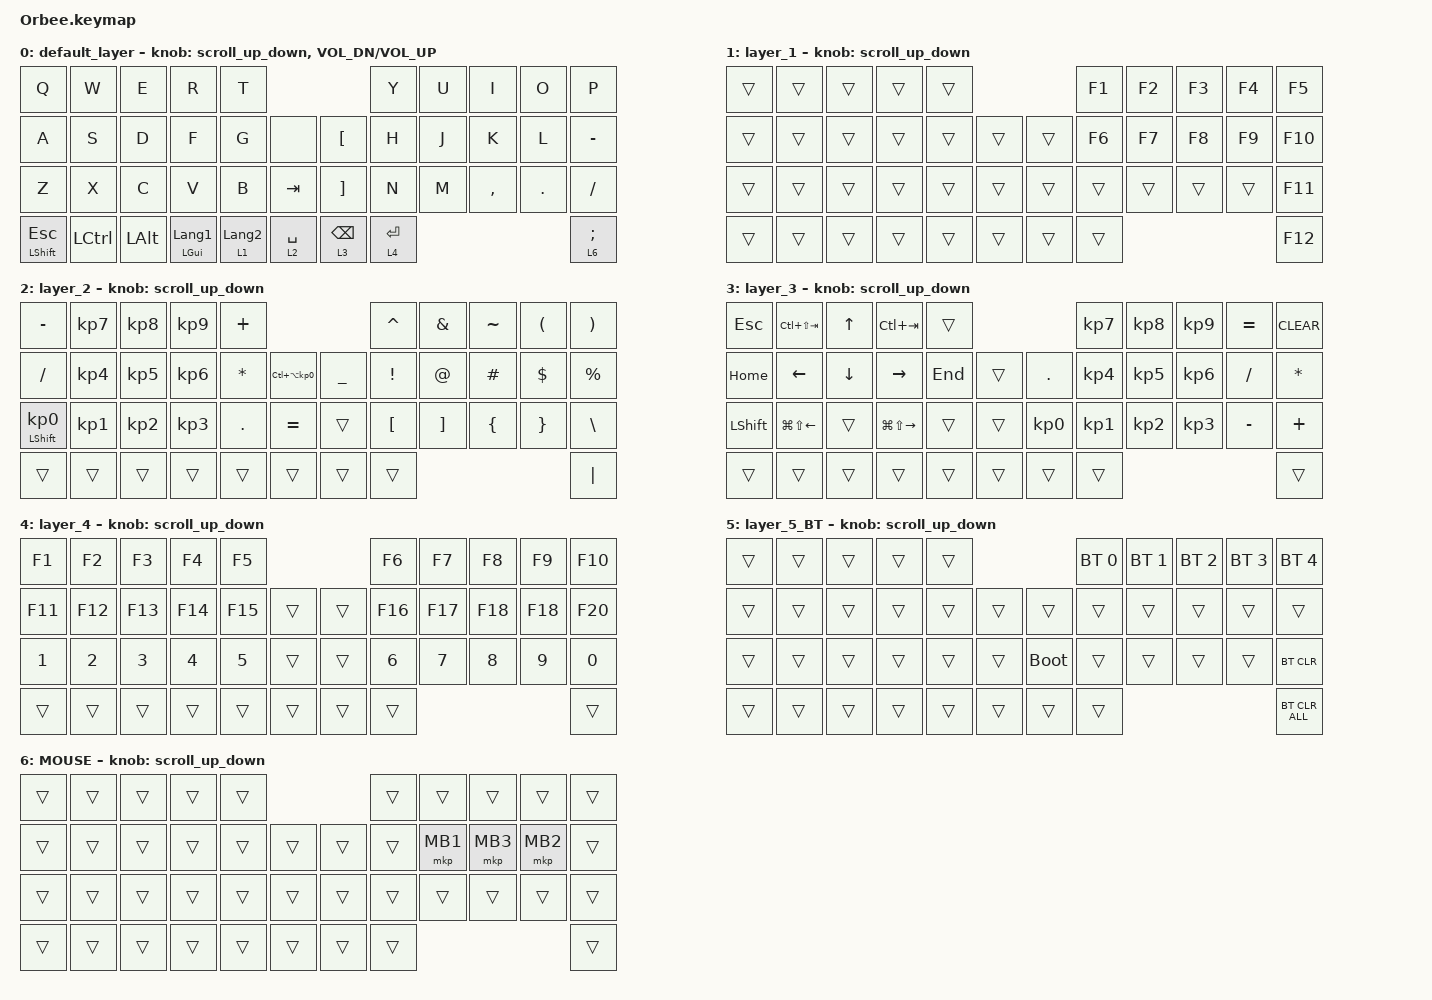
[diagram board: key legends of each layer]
#include <behaviors.dtsi>
#include <dt-bindings/zmk/bt.h>
#include <dt-bindings/zmk/keys.h>
#include <dt-bindings/zmk/pointing.h>

#define ZMK_POINTING_DEFAULT_SCRL_VAL 100
#define MOUSE 6

&mt {
    flavor = "balanced";
    quick-tap-ms = <0>;
};

/ {
    combos { compatible = "zmk,combos"; };

    macros {
        to_layer_0: to_layer_0 {
            compatible = "zmk,behavior-macro-one-param";
            #binding-cells = <1>;
            bindings = <&to 0 &macro_param_1to1 &kp MACRO_PLACEHOLDER>;
            label = "TO_LAYER_0";
        };
    };

    behaviors {
        touch_behavior_1: touch1 {
            compatible = "zmk,behavior-momentary";
            label = "TouchKey1";
            bindings = <&kp A>;
        };

        touch_behavior_2: touch2 {
            compatible = "zmk,behavior-momentary";
            label = "TouchKey2";
            bindings = <&kp B>;
        };

        touch_behavior_3: touch3 {
            compatible = "zmk,behavior-momentary";
            label = "TouchKey3";
            bindings = <&mo 1>;
        };

        lt_to_layer_0: lt_to_layer_0 {
            compatible = "zmk,behavior-hold-tap";
            label = "LAYER_TAP_TO_0";
            bindings = <&mo>, <&to_layer_0>;

            #binding-cells = <2>;
            tapping-term-ms = <200>;
        };

        scroll_up_down: behavior_sensor_rotate_mouse_wheel_up_down {
            compatible = "zmk,behavior-sensor-rotate";
            #sensor-binding-cells = <0>;
            bindings = <&msc SCRL_UP>, <&msc SCRL_DOWN>;

            tap-ms = <20>;
        };
    };

    keymap {
        compatible = "zmk,keymap";

        default_layer {
            bindings = <
&kp Q              &kp W             &kp E         &kp R                    &kp T                                               &kp Y        &kp U  &kp I      &kp O    &kp P
&kp A              &kp S             &kp D         &kp F                    &kp G             &none          &kp LEFT_BRACKET   &kp H        &kp J  &kp K      &kp L    &kp MINUS
&kp Z              &kp X             &kp C         &kp V                    &kp B             &kp TAB        &kp RIGHT_BRACKET  &kp N        &kp M  &kp COMMA  &kp DOT  &kp SLASH
&mt LSHIFT ESCAPE  &kp LEFT_CONTROL  &kp LEFT_ALT  &mt LEFT_GUI LANGUAGE_1  &lt 1 LANGUAGE_2  &lt 2 SPACE    &lt 3 BACKSPACE    &lt 4 ENTER                             &lt 6 SEMICOLON
            >;

            sensor-bindings =
                <&scroll_up_down>,
                <&inc_dec_kp C_VOL_DN C_VOL_UP>;
        };

        layer_1 {
            bindings = <
&trans  &trans  &trans  &trans  &trans                    &kp F1  &kp F2  &kp F3  &kp F4  &kp F5
&trans  &trans  &trans  &trans  &trans  &trans    &trans  &kp F6  &kp F7  &kp F8  &kp F9  &kp F10
&trans  &trans  &trans  &trans  &trans  &trans    &trans  &trans  &trans  &trans  &trans  &kp F11
&trans  &trans  &trans  &trans  &trans  &trans    &trans  &trans                          &kp F12
            >;

            sensor-bindings = <&scroll_up_down>;
        };

        layer_2 {
            bindings = <
&kp MINUS                   &kp KP_NUMBER_7  &kp KP_NUMBER_8  &kp KP_NUMBER_9  &kp PLUS                                                 &kp CARET         &kp AMPERSAND      &kp TILDE       &kp LEFT_PARENTHESIS  &kp RIGHT_PARENTHESIS
&kp SLASH                   &kp KP_NUMBER_4  &kp KP_NUMBER_5  &kp KP_NUMBER_6  &kp ASTERISK  &kp LC(LA(KP_NUMBER_0))    &kp UNDERSCORE  &kp EXCLAMATION   &kp AT_SIGN        &kp HASH        &kp DOLLAR            &kp PERCENT
&mt LEFT_SHIFT KP_NUMBER_0  &kp KP_NUMBER_1  &kp KP_NUMBER_2  &kp KP_NUMBER_3  &kp PERIOD    &kp EQUAL                  &trans          &kp LEFT_BRACKET  &kp RIGHT_BRACKET  &kp LEFT_BRACE  &kp RIGHT_BRACE       &kp BACKSLASH
&trans                      &trans           &trans           &trans           &trans        &trans                     &trans          &trans                                                                     &kp PIPE
            >;

            sensor-bindings = <&scroll_up_down>;
        };

        layer_3 {
            bindings = <
&kp ESCAPE      &kp LC(LS(TAB))         &kp UP_ARROW    &kp LC(TAB)              &trans                              &kp KP_NUMBER_7  &kp KP_NUMBER_8  &kp KP_NUMBER_9  &kp EQUAL  &kp CLEAR
&kp HOME        &kp LEFT_ARROW          &kp DOWN_ARROW  &kp RIGHT_ARROW          &kp END  &trans    &kp DOT          &kp KP_NUMBER_4  &kp KP_NUMBER_5  &kp KP_NUMBER_6  &kp SLASH  &kp ASTERISK
&kp LEFT_SHIFT  &kp LG(LS(LEFT_ARROW))  &trans          &kp LG(LS(RIGHT_ARROW))  &trans   &trans    &kp KP_NUMBER_0  &kp KP_NUMBER_1  &kp KP_NUMBER_2  &kp KP_NUMBER_3  &kp MINUS  &kp PLUS
&trans          &trans                  &trans          &trans                   &trans   &trans    &trans           &trans                                                        &trans
            >;

            sensor-bindings = <&scroll_up_down>;
        };

        layer_4 {
            bindings = <
&kp F1   &kp F2   &kp F3   &kp F4   &kp F5                     &kp F6   &kp F7   &kp F8   &kp F9   &kp F10
&kp F11  &kp F12  &kp F13  &kp F14  &kp F15  &trans    &trans  &kp F16  &kp F17  &kp F18  &kp F18  &kp F20
&kp N1   &kp N2   &kp N3   &kp N4   &kp N5   &trans    &trans  &kp N6   &kp N7   &kp N8   &kp N9   &kp N0
&trans   &trans   &trans   &trans   &trans   &trans    &trans  &trans                              &trans
            >;

            sensor-bindings = <&scroll_up_down>;
        };

        layer_5_BT {
            bindings = <
&trans  &trans  &trans  &trans  &trans                         &bt BT_SEL 0  &bt BT_SEL 1  &bt BT_SEL 2  &bt BT_SEL 3  &bt BT_SEL 4
&trans  &trans  &trans  &trans  &trans  &trans    &trans       &trans        &trans        &trans        &trans        &trans
&trans  &trans  &trans  &trans  &trans  &trans    &bootloader  &trans        &trans        &trans        &trans        &bt BT_CLR
&trans  &trans  &trans  &trans  &trans  &trans    &trans       &trans                                                  &bt BT_CLR_ALL
            >;

            sensor-bindings = <&scroll_up_down>;
        };

        MOUSE {
            bindings = <
&trans  &trans  &trans  &trans  &trans                    &trans  &trans    &trans    &trans    &trans
&trans  &trans  &trans  &trans  &trans  &trans    &trans  &trans  &mkp MB1  &mkp MB3  &mkp MB2  &trans
&trans  &trans  &trans  &trans  &trans  &trans    &trans  &trans  &trans    &trans    &trans    &trans
&trans  &trans  &trans  &trans  &trans  &trans    &trans  &trans                                &trans
            >;

            sensor-bindings = <&scroll_up_down>;
        };
    };
};
